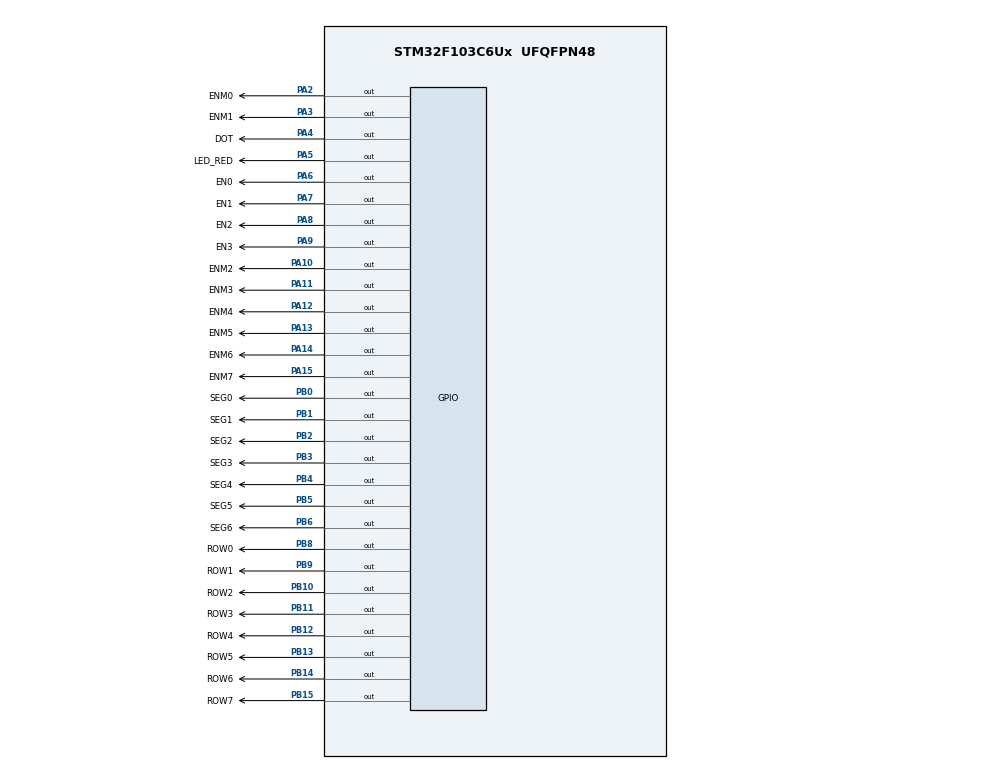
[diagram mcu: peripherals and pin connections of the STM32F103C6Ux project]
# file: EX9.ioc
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Mcu.Family=STM32F1
Mcu.Name=STM32F103C6Ux
Mcu.Package=UFQFPN48
NVIC.PriorityGroup=NVIC_PRIORITYGROUP_4
NVIC.TIM2_IRQn=true\:0\:0\:false\:false\:true\:true\:true
PA10.GPIO_Label=ENM2
PA10.Signal=GPIO_Output
PA11.GPIO_Label=ENM3
PA11.Signal=GPIO_Output
PA12.GPIO_Label=ENM4
PA12.Signal=GPIO_Output
PA13.GPIO_Label=ENM5
PA13.Signal=GPIO_Output
PA14.GPIO_Label=ENM6
PA14.Signal=GPIO_Output
PA15.GPIO_Label=ENM7
PA15.Signal=GPIO_Output
PA2.GPIO_Label=ENM0
PA2.Signal=GPIO_Output
PA3.GPIO_Label=ENM1
PA3.Signal=GPIO_Output
PA4.GPIO_Label=DOT
PA4.Signal=GPIO_Output
PA5.GPIO_Label=LED_RED
PA5.Signal=GPIO_Output
PA6.GPIO_Label=EN0
PA6.Signal=GPIO_Output
PA7.GPIO_Label=EN1
PA7.Signal=GPIO_Output
PA8.GPIO_Label=EN2
PA8.Signal=GPIO_Output
PA9.GPIO_Label=EN3
PA9.Signal=GPIO_Output
PB0.GPIO_Label=SEG0
PB0.Signal=GPIO_Output
PB1.GPIO_Label=SEG1
PB1.Signal=GPIO_Output
PB10.GPIO_Label=ROW2
PB10.Signal=GPIO_Output
PB11.GPIO_Label=ROW3
PB11.Signal=GPIO_Output
PB12.GPIO_Label=ROW4
PB12.Signal=GPIO_Output
PB13.GPIO_Label=ROW5
PB13.Signal=GPIO_Output
PB14.GPIO_Label=ROW6
PB14.Signal=GPIO_Output
PB15.GPIO_Label=ROW7
PB15.Signal=GPIO_Output
PB2.GPIO_Label=SEG2
PB2.Signal=GPIO_Output
PB3.GPIO_Label=SEG3
PB3.Signal=GPIO_Output
PB4.GPIO_Label=SEG4
PB4.Signal=GPIO_Output
PB5.GPIO_Label=SEG5
PB5.Signal=GPIO_Output
PB6.GPIO_Label=SEG6
PB6.Signal=GPIO_Output
PB8.GPIO_Label=ROW0
PB8.Signal=GPIO_Output
PB9.GPIO_Label=ROW1
PB9.Signal=GPIO_Output
ProjectManager.HeapSize=0x200
ProjectManager.StackSize=0x400
ProjectManager.TargetToolchain=STM32CubeIDE
RCC.APB1Freq_Value=8000000
RCC.APB2Freq_Value=8000000
TIM2.Period=9
TIM2.Prescaler=7999
VP_SYS_VS_ND.Mode=No_Debug
VP_TIM2_VS_ClockSourceINT.Mode=Internal
board=custom

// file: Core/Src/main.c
/* USER CODE BEGIN Header */
/**
  ******************************************************************************
  * @file           : main.c
  * @brief          : Main program body
  ******************************************************************************
  * @attention
  *
  * <h2><center>&copy; Copyright (c) 2022 STMicroelectronics.
  * All rights reserved.</center></h2>
  *
  * This software component is licensed by ST under BSD 3-Clause license,
  * the "License"; You may not use this file except in compliance with the
  * License. You may obtain a copy of the License at:
  *                        opensource.org/licenses/BSD-3-Clause
  *
  ******************************************************************************
  */
/* USER CODE END Header */
#include "main.h"

TIM_HandleTypeDef htim2;

void SystemClock_Config(void);
static void MX_GPIO_Init(void);
static void MX_TIM2_Init(void);

/* USER CODE BEGIN 0 */
int timer0_counter=0;
int timer0_flag=0;
int timer_cycle=10;
void setTimer0(int duration){
	timer0_counter=duration/timer_cycle;
	timer0_flag=0;
}
//setTimer1
int timer1_counter=0;
int timer1_flag=0;
void setTimer1(int duration){
	timer1_counter=duration/timer_cycle;
	timer1_flag=0;
}
void timer_run(){
	if(timer0_counter>0){
		timer0_counter--;
		if(timer0_counter<=0){
			timer0_flag=1;
		}
	}
	if(timer1_counter>0){
		timer1_counter--;
		if(timer1_counter<=0){
			timer1_flag=1;
		}
	}
}
/* USER CODE END 0 */

int main(void)
{

  /* MCU Configuration--------------------------------------------------------*/

  /* Reset of all peripherals, Initializes the Flash interface and the Systick. */
  HAL_Init();

  /* Configure the system clock */
  SystemClock_Config();

  /* Initialize all configured peripherals */
  MX_GPIO_Init();
  MX_TIM2_Init();
  /* USER CODE BEGIN 2 */
  HAL_TIM_Base_Start_IT (& htim2 ) ;
  /* USER CODE END 2 */

  /* Infinite loop */
  /* USER CODE BEGIN WHILE */
  const int MAX_LED_MATRIX=8;
  //gia tri cac hang trong matrix
  int index_led_matrix=0;
  //dieu khien den sang tai cac hang
  uint16_t matrix_buffer[8]={0xe7ff,0xdbff,0xbff7,0xbff7,0x83f7,0xbff7,0xbff7,0xbff7};
  void updateLEDMatrix(int index){
	  switch(index){
	  case 0://row1
		  GPIOA->ODR=matrix_buffer[0];
		  GPIOB->ODR=0xfeff;
		  break;
	  case 1://row2
		  GPIOA->ODR=matrix_buffer[1];
		  GPIOB->ODR=0xfdff;
		  break;
	  case 2://row3
		  GPIOA->ODR=matrix_buffer[2];
		  GPIOB->ODR=0xfbff;
		  break;
	  case 3://row4
		  GPIOA->ODR=matrix_buffer[3];
		  GPIOB->ODR=0xf7ff;
		  break;
	  case 4://row5
		  GPIOA->ODR=matrix_buffer[4];
		  GPIOB->ODR=0xefff;
		  break;
	  case 5://row6
		  GPIOA->ODR=matrix_buffer[5];
		  GPIOB->ODR=0xdfff;
		  break;
	  case 6://row7
		  GPIOA->ODR=matrix_buffer[6];
		  GPIOB->ODR=0xbfff;
		  break;
	  case 7://row8
		  GPIOA->ODR=matrix_buffer[7];
		  GPIOB->ODR=0x7fff;
		  break;
	  default:
		  GPIOA->ODR=0xffff;
		  GPIOB->ODR=0xffff;
		  break;
	  }
  }
  //khoi tao ban dau cac den trong matrix tat
  GPIOA->ODR=0xffff;
  GPIOB->ODR=0xffff;
  //set thoi gian sang cua cac hang trong matrix la 10ms
  setTimer0(10);
  while (1)
  {
    /* USER CODE END WHILE */
	  if(timer0_flag==1){
		  setTimer0(10);
		  updateLEDMatrix(index_led_matrix);
		  index_led_matrix++;
		  if(index_led_matrix>=MAX_LED_MATRIX) index_led_matrix=0;
	  }
  }
}

void SystemClock_Config(void)
{
  RCC_OscInitTypeDef RCC_OscInitStruct = {0};
  RCC_ClkInitTypeDef RCC_ClkInitStruct = {0};

  /** Initializes the RCC Oscillators according to the specified parameters
  * in the RCC_OscInitTypeDef structure.
  */
  RCC_OscInitStruct.OscillatorType = RCC_OSCILLATORTYPE_HSI;
  RCC_OscInitStruct.HSIState = RCC_HSI_ON;
  RCC_OscInitStruct.HSICalibrationValue = RCC_HSICALIBRATION_DEFAULT;
  RCC_OscInitStruct.PLL.PLLState = RCC_PLL_NONE;
  if (HAL_RCC_OscConfig(&RCC_OscInitStruct) != HAL_OK)
  {
    Error_Handler();
  }
  /** Initializes the CPU, AHB and APB buses clocks
  */
  RCC_ClkInitStruct.ClockType = RCC_CLOCKTYPE_HCLK|RCC_CLOCKTYPE_SYSCLK
                              |RCC_CLOCKTYPE_PCLK1|RCC_CLOCKTYPE_PCLK2;
  RCC_ClkInitStruct.SYSCLKSource = RCC_SYSCLKSOURCE_HSI;
  RCC_ClkInitStruct.AHBCLKDivider = RCC_SYSCLK_DIV1;
  RCC_ClkInitStruct.APB1CLKDivider = RCC_HCLK_DIV1;
  RCC_ClkInitStruct.APB2CLKDivider = RCC_HCLK_DIV1;

  if (HAL_RCC_ClockConfig(&RCC_ClkInitStruct, FLASH_LATENCY_0) != HAL_OK)
  {
    Error_Handler();
  }
}

static void MX_TIM2_Init(void)
{

  TIM_ClockConfigTypeDef sClockSourceConfig = {0};
  TIM_MasterConfigTypeDef sMasterConfig = {0};

  htim2.Instance = TIM2;
  htim2.Init.Prescaler = 7999;
  htim2.Init.CounterMode = TIM_COUNTERMODE_UP;
  htim2.Init.Period = 9;
  htim2.Init.ClockDivision = TIM_CLOCKDIVISION_DIV1;
  htim2.Init.AutoReloadPreload = TIM_AUTORELOAD_PRELOAD_DISABLE;
  if (HAL_TIM_Base_Init(&htim2) != HAL_OK)
  {
    Error_Handler();
  }
  sClockSourceConfig.ClockSource = TIM_CLOCKSOURCE_INTERNAL;
  if (HAL_TIM_ConfigClockSource(&htim2, &sClockSourceConfig) != HAL_OK)
  {
    Error_Handler();
  }
  sMasterConfig.MasterOutputTrigger = TIM_TRGO_RESET;
  sMasterConfig.MasterSlaveMode = TIM_MASTERSLAVEMODE_DISABLE;
  if (HAL_TIMEx_MasterConfigSynchronization(&htim2, &sMasterConfig) != HAL_OK)
  {
    Error_Handler();
  }

}

static void MX_GPIO_Init(void)
{
  GPIO_InitTypeDef GPIO_InitStruct = {0};

  /* GPIO Ports Clock Enable */
  __HAL_RCC_GPIOA_CLK_ENABLE();
  __HAL_RCC_GPIOB_CLK_ENABLE();

  /*Configure GPIO pin Output Level */
  HAL_GPIO_WritePin(GPIOA, ENM0_Pin|ENM1_Pin|DOT_Pin|LED_RED_Pin
                          |EN0_Pin|EN1_Pin|EN2_Pin|EN3_Pin
                          |ENM2_Pin|ENM3_Pin|ENM4_Pin|ENM5_Pin
                          |ENM6_Pin|ENM7_Pin, GPIO_PIN_RESET);

  /*Configure GPIO pin Output Level */
  HAL_GPIO_WritePin(GPIOB, SEG0_Pin|SEG1_Pin|SEG2_Pin|ROW2_Pin
                          |ROW3_Pin|ROW4_Pin|ROW5_Pin|ROW6_Pin
                          |ROW7_Pin|SEG3_Pin|SEG4_Pin|SEG5_Pin
                          |SEG6_Pin|ROW0_Pin|ROW1_Pin, GPIO_PIN_RESET);

  /*Configure GPIO pins : ENM0_Pin ENM1_Pin DOT_Pin LED_RED_Pin
                           EN0_Pin EN1_Pin EN2_Pin EN3_Pin
                           ENM2_Pin ENM3_Pin ENM4_Pin ENM5_Pin
                           ENM6_Pin ENM7_Pin */
  GPIO_InitStruct.Pin = ENM0_Pin|ENM1_Pin|DOT_Pin|LED_RED_Pin
                          |EN0_Pin|EN1_Pin|EN2_Pin|EN3_Pin
                          |ENM2_Pin|ENM3_Pin|ENM4_Pin|ENM5_Pin
                          |ENM6_Pin|ENM7_Pin;
  GPIO_InitStruct.Mode = GPIO_MODE_OUTPUT_PP;
  GPIO_InitStruct.Pull = GPIO_NOPULL;
  GPIO_InitStruct.Speed = GPIO_SPEED_FREQ_LOW;
  HAL_GPIO_Init(GPIOA, &GPIO_InitStruct);

  /*Configure GPIO pins : SEG0_Pin SEG1_Pin SEG2_Pin ROW2_Pin
                           ROW3_Pin ROW4_Pin ROW5_Pin ROW6_Pin
                           ROW7_Pin SEG3_Pin SEG4_Pin SEG5_Pin
                           SEG6_Pin ROW0_Pin ROW1_Pin */
  GPIO_InitStruct.Pin = SEG0_Pin|SEG1_Pin|SEG2_Pin|ROW2_Pin
                          |ROW3_Pin|ROW4_Pin|ROW5_Pin|ROW6_Pin
                          |ROW7_Pin|SEG3_Pin|SEG4_Pin|SEG5_Pin
                          |SEG6_Pin|ROW0_Pin|ROW1_Pin;
  GPIO_InitStruct.Mode = GPIO_MODE_OUTPUT_PP;
  GPIO_InitStruct.Pull = GPIO_NOPULL;
  GPIO_InitStruct.Speed = GPIO_SPEED_FREQ_LOW;
  HAL_GPIO_Init(GPIOB, &GPIO_InitStruct);

}

/* USER CODE BEGIN 4 */
void HAL_TIM_PeriodElapsedCallback ( TIM_HandleTypeDef * htim ){
	timer_run();
}
/* USER CODE END 4 */

void Error_Handler(void)
{
  __disable_irq();
  while (1)
  {
  }
}

/************************ (C) COPYRIGHT STMicroelectronics *****END OF FILE****/
